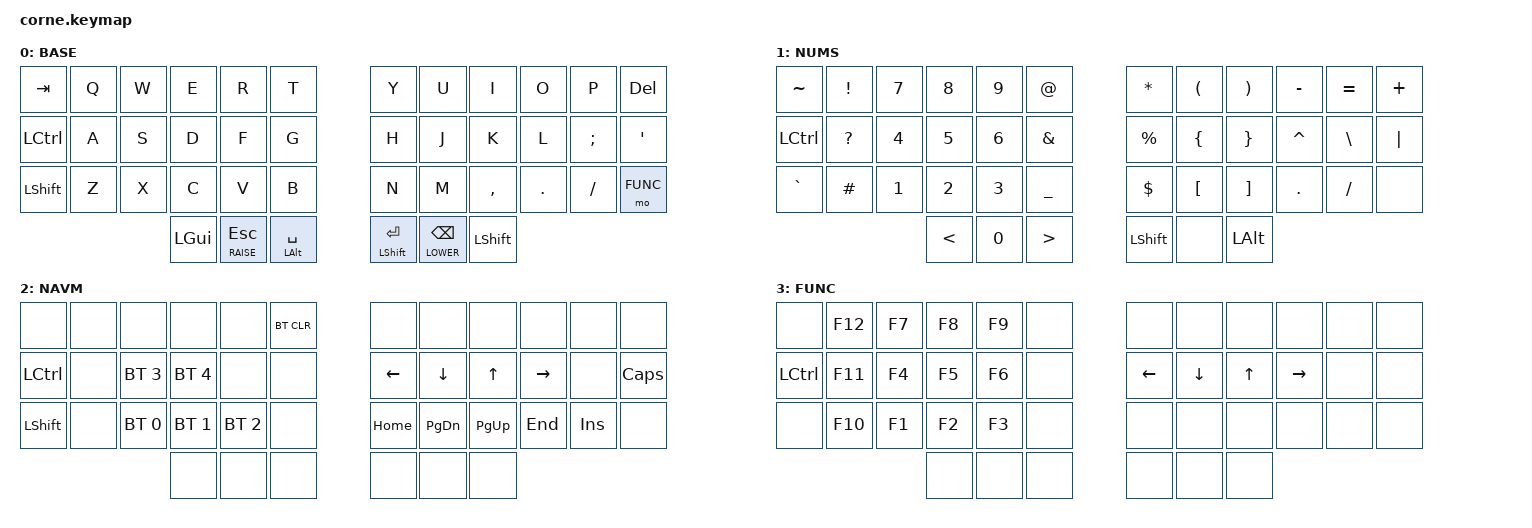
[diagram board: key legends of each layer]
/*
 * Copyright (c) 2020 The ZMK Contributors
 *
 * SPDX-License-Identifier: MIT
 */

#include <behaviors.dtsi>
#include <dt-bindings/zmk/keys.h>
#include <dt-bindings/zmk/bt.h>

#define DEFAULT 0
#define LOWER   1
#define RAISE   2
#define FUNC    3

&lt {
    flavor = "hold-preferred";
    tapping-term-ms = <200>;
};

&mt {
    quick-tap-ms = <200>;
};

/ {
        behaviors {
            rmt: retro_mod_tap {
              compatible = "zmk,behavior-hold-tap";
              #binding-cells = <2>;
              flavor = "hold-preferred";
              tapping-term-ms = <200>;
              bindings = <&kp>, <&kp>;
              quick-tap-ms = <200>;
              retro-tap;
            };
            rpilt: require_prior_idle_layer_tap {
              compatible = "zmk,behavior-hold-tap";
              #binding-cells = <2>;
              flavor = "hold-preferred";
              tapping-term-ms = <200>;
              bindings = <&mo>, <&kp>;
              require-prior-idle-ms = <200>;
            };
            plt: positional_layer_tap {
              compatible = "zmk,behavior-hold-tap";
              #binding-cells = <2>;
              flavor = "hold-preferred";
              tapping-term-ms = <200>;
              bindings = <&mo>, <&kp>;
              hold-trigger-key-positions = < 0 1 2 3 4 5 6 7 8 9 10 11 12 13 14 15 16 17 18 19 20 21 22 23 24 25 26 27 28 29 30 31 32 33 34 35 >; // except all thumb keys
            };
        };

        keymap {
                compatible = "zmk,keymap";

                base_layer {
// -----------------------------------------------------------------------------------------
// |  TAB|  Q  |  W  |  E  |  R  |  T  |   |  Y  |  U  |  I  |  O  |  P  |  DEL|
// | CTRL|  A  |  S  |  D  |  F  |  G  |   |  H  |  J  |  K  |  L  |  ;  |  '  |
// | SHFT|  Z  |  X  |  C  |  V  |  B  |   |  N  |  M  |  ,  |  .  |  /  | FUNC|
//        | GUI | RAISE_ESC | LALT_SPC |   | LSHFT_ENT | LOWER_BKSP | SHFT |
                        bindings = <
   &kp TAB   &kp Q &kp W &kp E &kp R &kp T   &kp Y &kp U  &kp I     &kp O   &kp P    &kp DEL
   &kp LCTRL &kp A &kp S &kp D &kp F &kp G   &kp H &kp J  &kp K     &kp L   &kp SEMI &kp SQT
   &kp LSHFT &kp Z &kp X &kp C &kp V &kp B   &kp N &kp M  &kp COMMA &kp DOT &kp FSLH &mo FUNC
    &kp LGUI &plt RAISE ESC &mt LALT SPACE   &rmt LSHFT RET &lt LOWER BSPC &kp LSHFT
                        >;
                        label = "BASE";
                };

                lower_layer {
// -----------------------------------------------------------------------------------------
// |  ~  |  !  |  7  |  8  |  9  |  @  |   |  *  |  (  |  )  |  -  |  =  |  +  |
// | CTRL|  ?  |  4  |  5  |  6  |  &  |   |  %  |  {  |  }  |  ^  |  \  | "|" |
// |  `  |  #  |  1  |  2  |  3  |  _  |   |  $  |  [  |  ]  |  .  |  /  |     |
//                   |  <  |  0  |  >  |   | SHFT |     | ALT |
                        bindings = <
   &kp TILDE &kp EXCL  &kp N7 &kp N8 &kp N9 &kp AT      &kp ASTRK &kp LPAR  &kp RPAR &kp MINUS &kp EQUAL &kp PLUS
   &kp LCTRL &kp QMARK &kp N4 &kp N5 &kp N6 &kp AMPS    &kp PRCNT &kp LBRC  &kp RBRC &kp CARET &kp BSLH  &kp PIPE
   &kp GRAVE &kp POUND &kp N1 &kp N2 &kp N3 &kp UNDER   &kp DLLR  &kp LBKT  &kp RBKT &kp DOT &kp FSLH &none
                            &kp LT &kp N0 &kp GT    &kp LSHFT &none &kp LALT
                        >;
                        label = "NUMS";
                };

                raise_layer {
// -----------------------------------------------------------------------------------------
// |     |     |     |     |     |BTCLR|   |     |     |     |     |     |     |
// | CTRL|     | BT4 | BT5 |     |     |   | LFT | DOWN|  UP |RIGHT|     | CAPS|
// | SHFT|     | BT1 | BT2 | BT3 |     |   | HOME|PG_DN|PG_UP| END | INS |     |
//                   |     |     |     |   |     |     |     |
                        bindings = <
   &none     &none &none        &none        &none   &bt BT_CLR   &none    &none     &none     &none     &none   &none
   &kp LCTRL &none &bt BT_SEL 3 &bt BT_SEL 4 &none        &none   &kp LEFT &kp DOWN  &kp UP    &kp RIGHT &none   &kp CAPS
   &kp LSHFT &none &bt BT_SEL 0 &bt BT_SEL 1 &bt BT_SEL 2 &none   &kp HOME &kp PG_DN &kp PG_UP &kp END   &kp INS &none
                                              &none &none &none   &none &none &none
                        >;
                        label = "NAVM";
                };

                function_layer {
// -----------------------------------------------------------------------------------------
// |      | F12 |  F7 |  F8 |  F9 |     |   |     |     |     |     |     |     |
// | CTRL | F11 |  F4 |  F5 |  F6 |     |   | LFT | DWN |  UP | RGT |     |     |
// |      | F10 |  F1 |  F2 |  F3 |     |   |     |     |     |     |     |     |
//                    |     |     |     |   |     |     |     |
                        bindings = <
   &none     &kp F12 &kp F7 &kp F8 &kp F9 &none   &none    &none    &none  &none     &none &none
   &kp LCTRL &kp F11 &kp F4 &kp F5 &kp F6 &none   &kp LEFT &kp DOWN &kp UP &kp RIGHT &none &none
   &none     &kp F10 &kp F1 &kp F2 &kp F3 &none   &none    &none    &none  &none     &none &none
                              &none &none &none   &none &none &none
                        >;
                        label = "FUNC";
                };
        };
};
